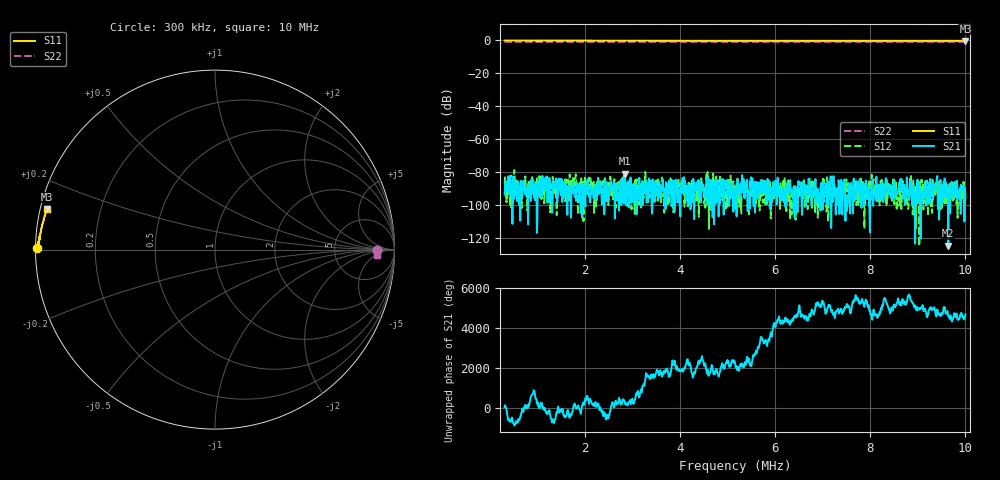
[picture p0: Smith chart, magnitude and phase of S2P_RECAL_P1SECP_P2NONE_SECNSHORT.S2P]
!Keysight Technologies,E5061B,MY49709559,B.05.06
!Date: Fri Apr 08 00:52:02 2022
!Data & Calibration Information:
!Freq	S11:SOLT2(ON)	S21:SOLT2(ON)	S12:SOLT2(ON)	S22:SOLT2(ON)
# Hz S RI R 50
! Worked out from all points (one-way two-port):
!   1000 points, 300 kHz to 10 MHz, reference 50 ohm
!   highest |S21| = -80.83 dB at 2.834 MHz (marker M1); lowest = -124.4 dB at 9.641 MHz (marker M2)
!   lowest |S11| = -0.3 dB at 10 MHz (marker M3), VSWR 52.57, Z = 0.965 + j5.96 ohm
!   |S11| at or under -10 dB: nowhere
!   |S22| runs from -0.9 to -0.9 dB; largest |S21 - S12| = 0.00016
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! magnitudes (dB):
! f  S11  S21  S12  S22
! 300 kHz  -0.1  -93.5  -86.6  -0.9
! 445.6 kHz  -0.1  -95.3  -98.3  -0.9
! 455.4 kHz  -0.1  -92.1  -87.8  -0.9
! 552.5 kHz  -0.1  -90.5  -85.2  -0.9
! 562.2 kHz  -0.1  -97.4  -86.9  -0.9
! 1.203 MHz  -0.1  -98.4  -89.0  -0.9
! 1.922 MHz  -0.2  -98.1  -90.3  -0.9
! 2.834 MHz  -0.2  -80.8  -87.7  -0.9
! 3.203 MHz  -0.2  -85.3  -99.8  -0.9
! 3.213 MHz  -0.2  -99.6  -85.3  -0.9
! 3.31 MHz  -0.2  -97.2  -88.5  -0.9
! 3.32 MHz  -0.2  -86.6  -98.0  -0.9
! 3.543 MHz  -0.2  -93.5  -87.4  -0.9
! 4.514 MHz  -0.2  -89.5  -93.8  -0.9
! 4.524 MHz  -0.2  -94.5  -101.4  -0.9
! 4.621 MHz  -0.2  -85.3  -90.8  -0.9
! 4.631 MHz  -0.2  -86.9  -102.7  -0.9
! 5.155 MHz  -0.2  -89.6  -99.7  -0.9
! 6.767 MHz  -0.3  -100.5  -101.5  -0.9
! 8.388 MHz  -0.3  -93.3  -90.3  -0.9
! 9.641 MHz  -0.3  -124.4  -91.8  -0.9
! 10 MHz  -0.3  -95.8  -96.7  -0.9
